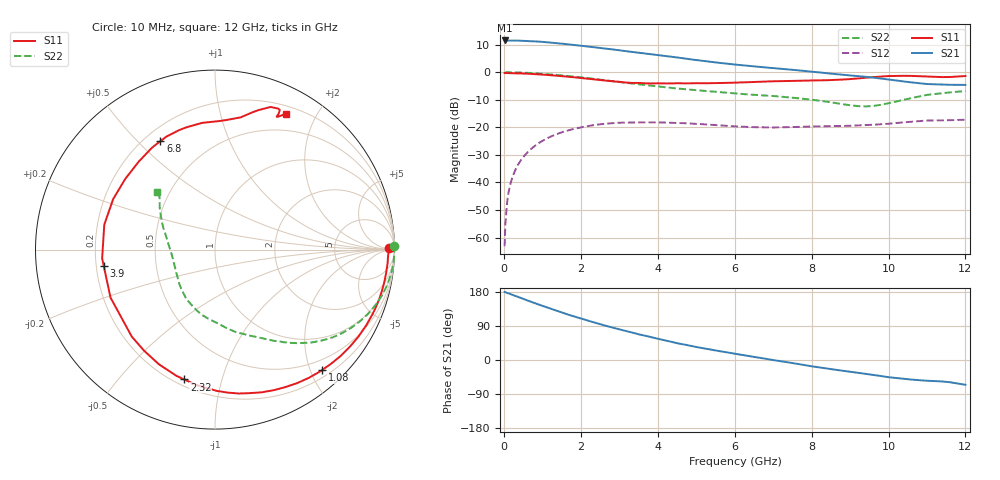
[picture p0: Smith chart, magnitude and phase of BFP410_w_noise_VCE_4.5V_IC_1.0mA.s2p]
! Infineon Technologies  Discrete & RF Semiconductors
! BFP410
! VCE =  4.5 V,  IC =  1.0 mA
! Common Emitter S-Parameters:  Nov 2015
# GHz  S  MA  R  50
!  f  S11  S21  S12  S22
! GHz  MAG  ANG  MAG  ANG  MAG  ANG  MAG  ANG
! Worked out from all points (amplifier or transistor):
!   243 points, 10 MHz to 12 GHz, reference 50 ohm
!   highest |S21| = 11.5 dB at 10 MHz (marker M1)
!   |S21| within 3 dB of that: start of sweep to 2.673 GHz
!   unconditionally stable (mu >= 1): 4.66 GHz to end of sweep
!   at 240 MHz: K = 0.05, MSG = 24.3 dB, |S12| = -37.1 dB
!   at 1.84 GHz: K = 0.27, MSG = 15.2 dB, |S12| = -20.5 dB
!   at 12 GHz: K = 1.24, MAG = 3.3 dB, |S12| = -17.2 dB
!   lowest NFmin = 0.79 dB at 900 MHz
!   S11 on the Smith chart (normalised r, x): 10 MHz: 60, +21; 1.08 GHz: 0.32, -2.19; 2.32 GHz: 0.24, -0.76; 3.9 GHz: 0.23, -0.07; 6.8 GHz: 0.26, +0.59; 12 GHz: 0.29, +1.61
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0.01  0.9707 0.6  3.77 179.5  0.0007 16.5  1 1.1
0.02  0.9675 -0.2  3.729 179.4  0.0013 67.7  0.9911 0.5
0.03  0.9665 -0.8  3.728 178.8  0.0018 73.5  0.9935 0.2
0.08  0.9645 -3.4  3.737 176.9  0.0047 82.4  0.9982 -1.4
0.22  0.9612 -9.6  3.748 171.8  0.0129 82.8  0.996 -4.5
0.42  0.9534 -18.5  3.733 164.2  0.0245 78.9  0.9872 -8.7
0.7  0.9349 -31.2  3.675 153.6  0.0407 72.2  0.9678 -14.6
1.08  0.8977 -48.4  3.517 139.8  0.0614 62.5  0.9284 -22.1
1.6  0.8369 -71.8  3.247 121.8  0.0857 49.2  0.8618 -31.5
2.02  0.7841 -90.1  3.011 108.8  0.1009 39.5  0.8049 -38.0
2.32  0.7435 -103.3  2.854 99.7  0.1096 32.6  0.7611 -42.4
3  0.6709 -133.7  2.505 80.6  0.1214 18.4  0.6637 -51.5
3.5  0.6406 -155.3  2.267 67.8  0.1236 9.7  0.6036 -57.3
3.9  0.6264 -171.5  2.09 58.4  0.1233 4.1  0.5621 -61.7
4.1  0.6266 -178.9  2.009 53.7  0.1228 1.4  0.5427 -64.1
5  0.6334 153.6  1.662 34.2  0.116 -8.6  0.4726 -76.1
6.1  0.6508 129.2  1.358 14.9  0.1035 -13.8  0.407 -89.0
6.8  0.6764 116.7  1.222 3.3  0.1001 -13.6  0.3773 -98.8
8.2  0.7114 92.0  0.992 -19.5  0.1043 -13.7  0.304 -124.4
9.4  0.7944 74.6  0.827 -36.5  0.1097 -13.8  0.2399 -166.1
10.2  0.8568 67.2  0.709 -47.5  0.1199 -14.4  0.294 161.5
12  0.8537 62.4  0.589 -65.4  0.1376 -25.1  0.4561 135.3
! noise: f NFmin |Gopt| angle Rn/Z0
0.45  0.82  0.68  9  0.45
0.9  0.79  0.65  23  0.41
1.8  1.13  0.53  57  0.35
2.4  1.23  0.5  71  0.31
5.5  2.66  0.44  -153  0.19
